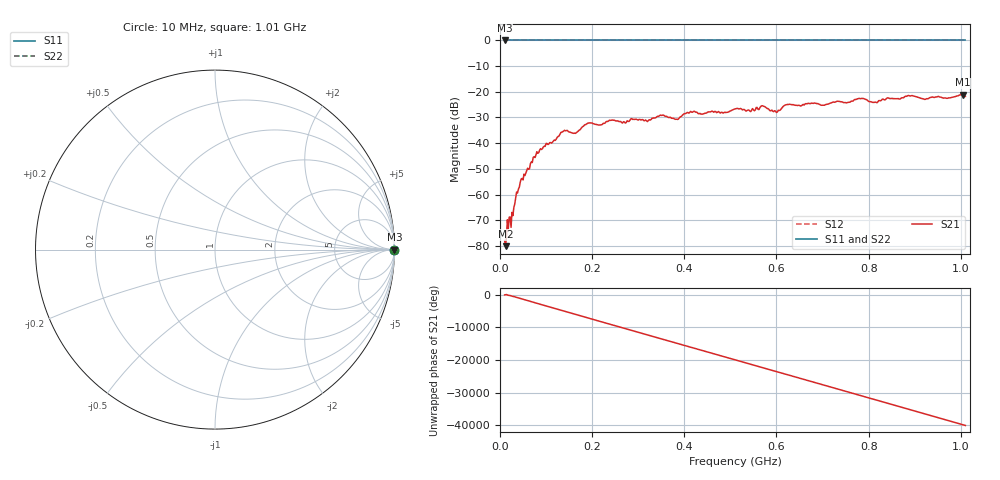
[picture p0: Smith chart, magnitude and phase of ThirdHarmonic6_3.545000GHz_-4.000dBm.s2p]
! 8/17/2025 11:41:05 AM
! C:\ANRITSUVNA\TEMP\TEMP.S2P
! CHANNEL.1
! TR.MEASUREMENT
! RAW.DATA
! RF.CORRECTION.OFF
! AVERAGING.OFF
! IF.BANDWIDTH: 5KHZ
! SWEEPTYPE:  FREQ.SWEEP(Linear)
! Reference Plane Port Info
! PORT:  PORT1  PORT2
! DISTANCE:  0  m  0  m
! TIME:  0  s  0  s
! PHASE.OFFSET:  0  deg.  0  deg.
! LOSS:  0  dB  0  dB
! REF.LOSS:  0  dB  0  dB
! REF.FREQ:  0  Hz  0  Hz
! Power Info
! POWER:  -20  dBm  -20  dBm
! EFF.POWER:  -20  dBm  -20  dBm
! SOURCE.ATTEN:  0  dB  0  dB
! TEST.ATTEN:  0  dB  0  dB
# GHZ S RI R 50.0
! FREQ.GHZ  S11RE  S11IM  S21RE  S21IM  S12RE  S12IM  S22RE  S22IM
!; PortSelection: Port_12
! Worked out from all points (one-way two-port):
!   501 points, 10 MHz to 1.01 GHz, reference 50 ohm
!   highest |S21| = -21.13 dB at 1.004 GHz (marker M1); lowest = -80.1 dB at 12 MHz (marker M2)
!   lowest |S11| = 0.0 dB at 10 MHz (marker M3)
!   |S11| at or under -10 dB: nowhere
!   |S22| runs from 0.0 to 0.0 dB; largest |S21 - S12| = 1.1
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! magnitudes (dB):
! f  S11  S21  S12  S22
! 10 MHz  0.0  -77.9  0.0  0.0
! 12 MHz  0.0  -80.1  0.0  0.0
! 18 MHz  0.0  -73.3  0.0  0.0
! 28 MHz  0.0  -68.2  0.0  0.0
! 44 MHz  0.0  -55.2  0.0  0.0
! 76 MHz  0.0  -45.6  0.0  0.0
! 136 MHz  0.0  -35.5  0.0  0.0
! 162 MHz  0.0  -36.1  0.0  0.0
! 178 MHz  0.0  -33.8  0.0  0.0
! 194 MHz  0.0  -32.1  0.0  0.0
! 322 MHz  0.0  -31.2  0.0  0.0
! 344 MHz  0.0  -29.6  0.0  0.0
! 384 MHz  0.0  -30.7  0.0  0.0
! 418 MHz  0.0  -27.9  0.0  0.0
! 510 MHz  0.0  -26.7  0.0  0.0
! 570 MHz  0.0  -25.4  0.0  0.0
! 598 MHz  0.0  -27.6  0.0  0.0
! 624 MHz  0.0  -24.9  0.0  0.0
! 678 MHz  0.0  -24.5  0.0  0.0
! 844 MHz  0.0  -22.5  0.0  0.0
! 1.004 GHz  0.0  -21.1  0.0  0.0
! 1.01 GHz  0.0  -21.8  0.0  0.0
